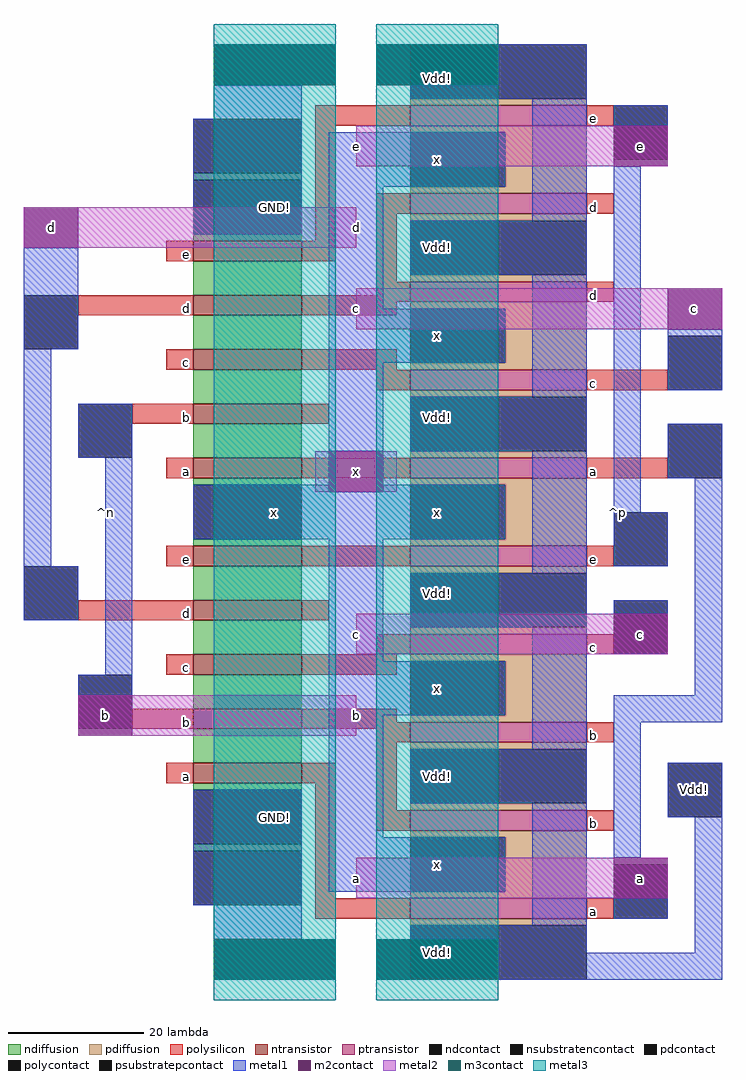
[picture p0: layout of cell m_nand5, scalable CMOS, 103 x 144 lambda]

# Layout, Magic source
magic
tech scmos
<< ndiffusion >>
rect -24 -690 -8 -689
rect -24 -699 -8 -698
rect -24 -707 -8 -702
rect -24 -715 -8 -710
rect -24 -723 -8 -718
rect -24 -731 -8 -726
rect -24 -735 -8 -734
rect -24 -744 -8 -743
rect -24 -752 -8 -747
rect -24 -760 -8 -755
rect -24 -768 -8 -763
rect -24 -776 -8 -771
rect -24 -780 -8 -779
rect -24 -789 -8 -788
<< pdiffusion >>
rect 8 -679 34 -678
rect 8 -683 34 -682
rect 22 -691 34 -683
rect 8 -692 34 -691
rect 8 -696 34 -695
rect 8 -705 34 -704
rect 8 -709 34 -708
rect 22 -717 34 -709
rect 8 -718 34 -717
rect 8 -722 34 -721
rect 8 -731 34 -730
rect 8 -735 34 -734
rect 22 -743 34 -735
rect 8 -744 34 -743
rect 8 -748 34 -747
rect 8 -757 34 -756
rect 8 -761 34 -760
rect 22 -769 34 -761
rect 8 -770 34 -769
rect 8 -774 34 -773
rect 8 -783 34 -782
rect 8 -787 34 -786
rect 22 -795 34 -787
rect 8 -796 34 -795
rect 8 -800 34 -799
<< ntransistor >>
rect -24 -702 -8 -699
rect -24 -710 -8 -707
rect -24 -718 -8 -715
rect -24 -726 -8 -723
rect -24 -734 -8 -731
rect -24 -747 -8 -744
rect -24 -755 -8 -752
rect -24 -763 -8 -760
rect -24 -771 -8 -768
rect -24 -779 -8 -776
<< ptransistor >>
rect 8 -682 34 -679
rect 8 -695 34 -692
rect 8 -708 34 -705
rect 8 -721 34 -718
rect 8 -734 34 -731
rect 8 -747 34 -744
rect 8 -760 34 -757
rect 8 -773 34 -770
rect 8 -786 34 -783
rect 8 -799 34 -796
<< polysilicon >>
rect -6 -682 8 -679
rect 34 -682 38 -679
rect -6 -699 -3 -682
rect -28 -702 -24 -699
rect -8 -702 -3 -699
rect 3 -695 8 -692
rect 34 -695 38 -692
rect 3 -705 6 -695
rect 3 -707 8 -705
rect -41 -710 -24 -707
rect -8 -708 8 -707
rect 34 -708 38 -705
rect -8 -710 6 -708
rect -28 -718 -24 -715
rect -8 -718 6 -715
rect 3 -721 8 -718
rect 34 -721 46 -718
rect -33 -726 -24 -723
rect -8 -726 -4 -723
rect -28 -734 -24 -731
rect -8 -734 8 -731
rect 34 -734 46 -731
rect -28 -747 -24 -744
rect -8 -747 8 -744
rect 34 -747 38 -744
rect -41 -755 -24 -752
rect -8 -755 -4 -752
rect 3 -760 8 -757
rect 34 -760 38 -757
rect -28 -763 -24 -760
rect -8 -763 6 -760
rect -33 -771 -24 -768
rect -8 -770 6 -768
rect -8 -771 8 -770
rect 3 -773 8 -771
rect 34 -773 38 -770
rect -28 -779 -24 -776
rect -8 -779 -3 -776
rect -6 -796 -3 -779
rect 3 -783 6 -773
rect 3 -786 8 -783
rect 34 -786 38 -783
rect -6 -799 8 -796
rect 34 -799 38 -796
<< ndcontact >>
rect -24 -698 -8 -690
rect -24 -743 -8 -735
rect -24 -788 -8 -780
<< pdcontact >>
rect 8 -678 34 -670
rect 8 -691 22 -683
rect 8 -704 34 -696
rect 8 -717 22 -709
rect 8 -730 34 -722
rect 8 -743 22 -735
rect 8 -756 34 -748
rect 8 -769 22 -761
rect 8 -782 34 -774
rect 8 -795 22 -787
rect 8 -808 34 -800
<< psubstratepcontact >>
rect -24 -689 -8 -681
rect -24 -797 -8 -789
<< nsubstratencontact >>
rect 46 -784 54 -776
<< polycontact >>
rect 38 -687 46 -679
rect -49 -715 -41 -707
rect 46 -721 54 -713
rect -41 -731 -33 -723
rect 46 -734 54 -726
rect 38 -747 46 -739
rect -49 -755 -41 -747
rect 38 -760 46 -752
rect -41 -771 -33 -763
rect 38 -799 46 -791
<< metal1 >>
rect 21 -676 34 -670
rect -21 -681 -8 -676
rect 8 -678 34 -676
rect -24 -698 -8 -681
rect -4 -691 22 -683
rect -49 -715 -41 -700
rect -4 -709 4 -691
rect 26 -696 34 -678
rect 8 -704 34 -696
rect -49 -747 -45 -715
rect -4 -717 22 -709
rect -41 -731 -33 -723
rect -49 -755 -41 -747
rect -37 -763 -33 -731
rect -4 -730 4 -717
rect 26 -722 34 -704
rect 8 -730 34 -722
rect -24 -736 -4 -735
rect 4 -736 22 -735
rect -24 -743 22 -736
rect -41 -766 -33 -763
rect -4 -761 4 -743
rect 26 -748 34 -730
rect 38 -682 46 -679
rect 38 -739 42 -688
rect 46 -721 54 -712
rect 46 -734 54 -726
rect 38 -747 46 -739
rect 8 -756 34 -748
rect -4 -769 22 -761
rect -24 -797 -8 -780
rect -4 -787 4 -769
rect 26 -774 34 -756
rect 38 -754 46 -752
rect 50 -766 54 -734
rect 8 -782 34 -774
rect -4 -795 22 -787
rect -21 -802 -8 -797
rect 26 -800 34 -782
rect 38 -770 54 -766
rect 38 -790 42 -770
rect 46 -784 54 -776
rect 38 -799 46 -796
rect 8 -802 34 -800
rect 21 -804 34 -802
rect 50 -804 54 -784
rect 21 -808 54 -804
<< m2contact >>
rect -21 -676 -3 -670
rect 3 -676 21 -670
rect -49 -700 -41 -694
rect -4 -736 4 -730
rect -41 -772 -33 -766
rect 38 -688 46 -682
rect 46 -712 54 -706
rect 38 -760 46 -754
rect 38 -796 46 -790
rect -21 -808 -3 -802
rect 3 -808 21 -802
<< metal2 >>
rect 0 -688 46 -682
rect -49 -700 0 -694
rect 0 -712 54 -706
rect -6 -736 6 -730
rect 0 -760 46 -754
rect -41 -772 0 -766
rect 0 -796 46 -790
<< m3contact >>
rect -21 -676 -3 -670
rect 3 -676 21 -670
rect -21 -808 -3 -802
rect 3 -808 21 -802
<< metal3 >>
rect -21 -811 -3 -667
rect 3 -811 21 -667
<< labels >>
rlabel metal1 12 -725 12 -725 5 Vdd!
rlabel metal1 12 -751 12 -751 5 Vdd!
rlabel m2contact 12 -804 12 -804 1 Vdd!
rlabel metal1 12 -713 12 -713 5 x
rlabel m2contact 12 -675 12 -675 1 Vdd!
rlabel metal1 12 -687 12 -687 5 x
rlabel metal1 -12 -739 -12 -739 5 x
rlabel metal1 -12 -694 -12 -694 5 GND!
rlabel metal1 -12 -784 -12 -784 1 GND!
rlabel metal1 12 -700 12 -700 1 Vdd!
rlabel metal1 12 -739 12 -739 1 x
rlabel metal1 12 -765 12 -765 5 x
rlabel metal1 12 -791 12 -791 1 x
rlabel metal1 12 -778 12 -778 1 Vdd!
rlabel polysilicon -25 -733 -25 -733 3 a
rlabel polysilicon -25 -725 -25 -725 3 b
rlabel polysilicon -25 -717 -25 -717 3 c
rlabel polysilicon -25 -709 -25 -709 1 d
rlabel polysilicon -25 -762 -25 -762 3 c
rlabel polysilicon -25 -770 -25 -770 3 b
rlabel polysilicon -25 -778 -25 -778 3 a
rlabel polysilicon -25 -754 -25 -754 1 d
rlabel polysilicon -25 -746 -25 -746 3 e
rlabel polysilicon -25 -701 -25 -701 3 e
rlabel polysilicon 35 -681 35 -681 7 e
rlabel polysilicon 35 -746 35 -746 7 e
rlabel polysilicon 35 -798 35 -798 7 a
rlabel polysilicon 35 -733 35 -733 7 a
rlabel polysilicon 35 -720 35 -720 7 c
rlabel polysilicon 35 -759 35 -759 7 c
rlabel polysilicon 35 -785 35 -785 7 b
rlabel polysilicon 35 -772 35 -772 7 b
rlabel polysilicon 35 -707 35 -707 7 d
rlabel polysilicon 35 -694 35 -694 7 d
rlabel metal2 0 -796 0 -790 3 a
rlabel metal2 0 -772 0 -766 7 b
rlabel metal2 0 -760 0 -754 3 c
rlabel metal2 0 -688 0 -682 3 e
rlabel metal2 0 -736 0 -730 1 x
rlabel metal2 0 -700 0 -694 7 d
rlabel metal2 0 -712 0 -706 3 c
rlabel space 22 -809 55 -669 3 ^p
rlabel space -50 -797 -24 -681 7 ^n
rlabel metal1 50 -780 50 -780 7 Vdd!
rlabel metal2 42 -793 42 -793 1 a
rlabel metal2 -37 -769 -37 -769 1 b
rlabel metal2 42 -757 42 -757 1 c
rlabel metal2 50 -709 50 -709 7 c
rlabel metal2 -45 -697 -45 -697 3 d
rlabel metal2 42 -685 42 -685 1 e
<< end >>
